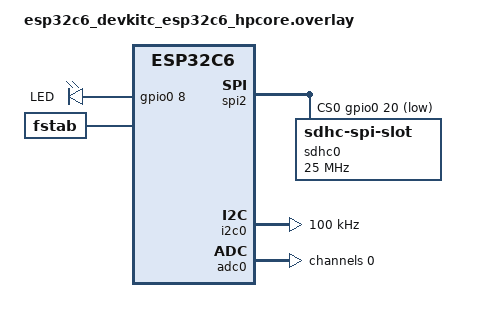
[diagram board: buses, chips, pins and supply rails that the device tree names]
/*
 * AkiraOS Device Tree Overlay — esp32c6_devkitc/esp32c6/hpcore
 *
 * ESP32-C6 DevKitC (RISC-V HP Core @ 160MHz)
 * Module: ESP32-C6-WROOM-1-N8 (8MB Flash, 512KB SRAM)
 * Radios: WiFi 6 (802.11ax) + BLE 5.3 + IEEE 802.15.4
 *
 * Upstream base DTS already enables:
 *   uart0 (TX=GPIO16, RX=GPIO17), gpio0, wdt0, wifi, ieee802154, esp32_bt_hci
 * Upstream pinctrl dtsi defines:
 *   spim2_default: MISO=GPIO2, SCLK=GPIO6, CSEL=GPIO10, MOSI=GPIO7
 *   i2c0_default:  SDA=GPIO6, SCL=GPIO7   ← CONFLICT with SPI2!
 *
 * CRITICAL: SPI2 and I2C0 share GPIO6/GPIO7 in upstream defaults.
 * This overlay remaps I2C0 to GPIO21 (SDA) / GPIO22 (SCL).
 *
 * SPI2 peripheral map (this overlay):
 *   MISO=GPIO2, SCLK=GPIO6, MOSI=GPIO7, HW-CS=GPIO10
 *   SD card SW-CS=GPIO20 via cs-gpios[0]
 *
 * I2C0 (remapped, this overlay):
 *   SDA=GPIO21, SCL=GPIO22
 */

#include <zephyr/dt-bindings/gpio/gpio.h>
#include <zephyr/dt-bindings/pinctrl/esp-pinctrl-common.h>
#include <dt-bindings/pinctrl/esp32c6-pinctrl.h>
#include <zephyr/dt-bindings/pinctrl/esp32c6-gpio-sigmap.h>

/* =========================================================================
 * Pin Controller — remap I2C0 away from SPI2's GPIO6/GPIO7
 * ========================================================================= */
&pinctrl {
	i2c0_akira: i2c0_akira {
		group1 {
			/* SDA=GPIO21, SCL=GPIO22 — free pins on DevKitC header */
			pinmux = <I2C0_SDA_GPIO21>,
				 <I2C0_SCL_GPIO22>;
			bias-pull-up;
			drive-open-drain;
			output-high;
		};
	};
};

/* =========================================================================
 * SPI2 — add SD card as a software-CS child device
 *
 * The upstream base DTS already sets pinctrl-0 = <&spim2_default> and
 * #address-cells/#size-cells. This overlay adds cs-gpios and the sdhc node.
 * Hardware CS (GPIO10) remains available for a display or other device.
 *
 * SD card CS: GPIO20 (software-managed, cs-gpios[0]).
 * ========================================================================= */
&spi2 {
	status = "okay";
	cs-gpios = <&gpio0 20 GPIO_ACTIVE_LOW>;

	sdhc0: sdhc@0 {
		compatible = "zephyr,sdhc-spi-slot";
		reg = <0>;              /* uses cs-gpios[0] = GPIO20 */
		status = "okay";
		spi-max-frequency = <25000000>;    /* 25 MHz — SD SPI max */

		mmc {
			compatible = "zephyr,sdmmc-disk";
			disk-name = "SD";
			status = "okay";
		};
	};
};

/* =========================================================================
 * I2C0 — remapped to GPIO21 (SDA) / GPIO22 (SCL)
 * ========================================================================= */
&i2c0 {
	status = "okay";
	pinctrl-0 = <&i2c0_akira>;
	pinctrl-names = "default";
	clock-frequency = <I2C_BITRATE_STANDARD>;
};

/* =========================================================================
 * ADC — SAR ADC, channel 0
 * ========================================================================= */
&adc0 {
	status = "okay";
	#address-cells = <1>;
	#size-cells = <0>;

	channel@0 {
		reg = <0>;
		zephyr,gain = "ADC_GAIN_1";
		zephyr,reference = "ADC_REF_INTERNAL";
		zephyr,acquisition-time = <ADC_ACQ_TIME_DEFAULT>;
		zephyr,resolution = <12>;
	};
};

/* =========================================================================
 * Flash Partitions — AkiraOS-specific
 *
 * The upstream partitions_0x0_default.dtsi (4MB table) occupies 0x0–0x3FFFFF.
 * WROOM-N8 has 8MB flash; AkiraOS partitions live in the second 4MB.
 *
 *   NVS settings:  32KB @ 0x400000   — persistent settings store
 *   LittleFS:     512KB @ 0x408000   — WASM app storage (XIP-from-Flash path)
 *
 * WASM binaries are stored in LittleFS on flash and loaded by the WAMR
 * interpreter. Code executes via the ESP32-C6 flash cache (XIP by default).
 * ========================================================================= */
&flash0 {
	partitions {
		akira_settings_nvs_partition: partition@400000 {
			label = "akira_settings_nvs";
			reg = <0x00400000 DT_SIZE_K(32)>;
		};

		lfs1_partition: partition@408000 {
			label = "lfs_storage";
			reg = <0x00408000 DT_SIZE_K(512)>;
		};
	};
};

/* =========================================================================
 * UART1 — Matter co-processor IPC
 *
 * TX=GPIO4, RX=GPIO5 — free header pins on ESP32-C6 DevKitC.
 * Connect to a Thread/Matter co-processor (e.g. ESP32-H2 UART0).
 * Aliased as "matter-coproc-uart" so akira_matter_ipc.c can resolve
 * it via DEVICE_DT_GET(DT_ALIAS(matter_coproc_uart)).
 *
 * Node is disabled by default; enable by setting CONFIG_AKIRA_MATTER=y
 * in the board config (or a separate Kconfig fragment).
 * ========================================================================= */
&pinctrl {
	uart1_matter: uart1_matter {
		group1 {
			pinmux = <UART1_TX_GPIO4>, <UART1_RX_GPIO5>;
			bias-pull-up;
		};
	};
};

&uart1 {
	status = "disabled";   /* enabled when CONFIG_AKIRA_MATTER=y */
	pinctrl-0 = <&uart1_matter>;
	pinctrl-names = "default";
	current-speed = <115200>;
};

/* =========================================================================
 * Root nodes — aliases, LEDs, fstab
 * ========================================================================= */
/ {
	aliases {
		led0                = &led0;
		akira-adc           = &adc0;
		matter-coproc-uart  = &uart1;
		/* sw0 alias already defined in upstream base DTS (GPIO9 boot button) */
	};

	leds {
		compatible = "gpio-leds";
		led0: led_0 {
			/* ESP32-C6 DevKitC RGB LED is on GPIO8 (WS2812 or plain GPIO) */
			gpios = <&gpio0 8 GPIO_ACTIVE_HIGH>;
			label = "LED";
		};
	};

	chosen {
		zephyr,console            = &uart0;
		zephyr,shell-uart         = &uart0;
		zephyr,settings-partition = &akira_settings_nvs_partition;
	};

	fstab {
		compatible = "zephyr,fstab";

		lfs1: lfs1 {
			compatible = "zephyr,fstab,littlefs";
			read-size      = <1>;
			prog-size      = <16>;
			cache-size     = <256>;
			lookahead-size = <32>;
			block-cycles   = <512>;
			partition      = <&lfs1_partition>;
			mount-point    = "/lfs";
		};
	};
};
